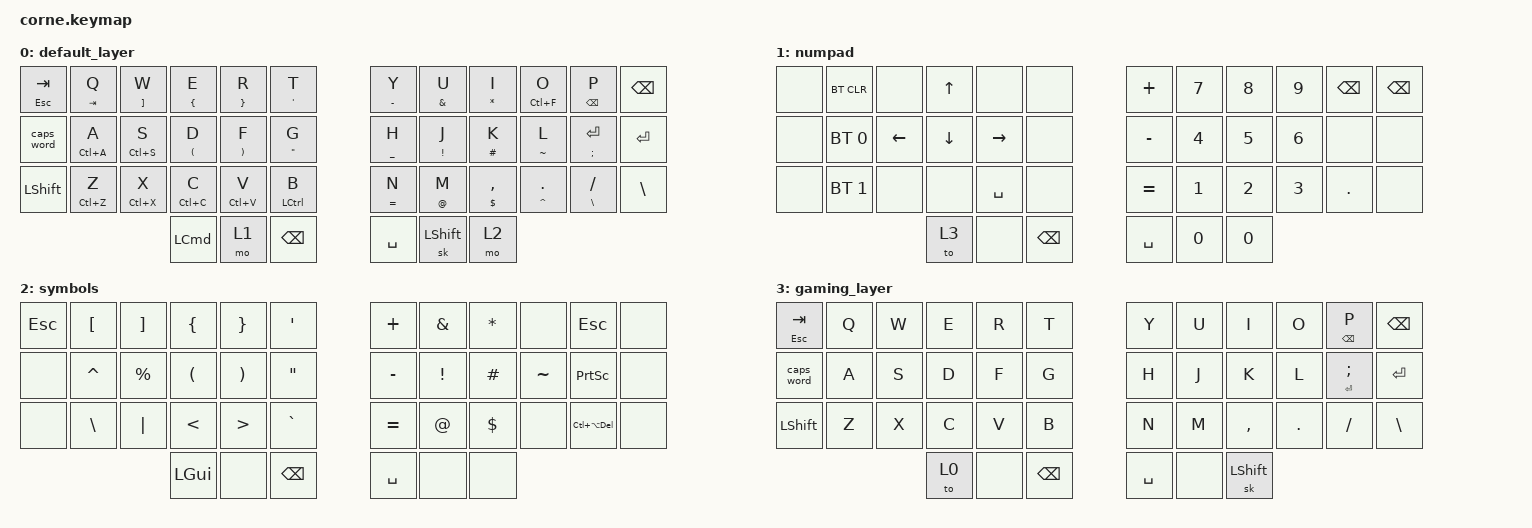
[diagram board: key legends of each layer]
/*
 * Copyright (c) 2020 The ZMK Contributors
 *
 * SPDX-License-Identifier: MIT
 */

#include <behaviors.dtsi>
#include <dt-bindings/zmk/keys.h>
#include <dt-bindings/zmk/bt.h>

nice_view_spi: &spi0 {
	compatible = "nordic,nrf-spim";
	sck-pin = <20>;
	mosi-pin = <17>;
	miso-pin = <25>;
	cs-gpios = <&pro_micro 0 GPIO_ACTIVE_HIGH>;
};

/ {
  chosen {
    zmk,matrix_transform = &default_transform;
    //zmk,matrix_transform = &five_column_transform;
  };
};

&sk {
        release-after-ms = <2000>;
        quick-release;
};

&caps_word {
        /delete-property/ ignore-modifiers;
        continue-list = <UNDERSCORE MINUS BACKSPACE>;
};

/ {
        behaviors {
            ht: hold_tap {
                compatible = "zmk,behavior-hold-tap";
                label = "HOLD_TAP";
                #binding-cells = <2>;
                flavor = "tap-preferred";
                tapping-term-ms = <200>;
                quick-tap-ms = <125>;
                global-quick-tap;
                bindings = <&kp>, <&kp>;
            };
        };

        keymap { 
                compatible = "zmk,keymap";

                default_layer { 
                        bindings = <
   &ht ESC TAB &ht TAB   Q &ht RBKT  W &ht LBRC  E &ht RBRC  R &ht SQT   T                &ht MINUS Y &ht AMPS U  &ht STAR I     &ht LC(F) O   &ht BSPC P    &kp BSPC
   &caps_word  &ht LC(A) A &ht LC(S) S &ht LPAR  D &ht RPAR  F &ht DQT   G                &ht UNDER H &ht EXCL J  &ht HASH K     &ht TILDE L   &ht SEMI RET  &kp RET
   &kp LSHIFT  &ht LC(Z) Z &ht LC(X) X &ht LC(C) C &ht LC(V) V &ht LCTRL B                &ht EQUAL N &ht AT   M  &ht DLLR COMMA &ht CARET DOT &ht BSLH FSLH &kp BSLH
        &kp LCMD &mo 1 &kp BSPC                                                                         &kp SPACE &sk LSHIFT &mo 2
                        >;
                };

                numpad {
                        bindings = <
   &none &bt BT_CLR   &none    &kp UP   &none     &none                         &kp PLUS  &kp N7 &kp N8 &kp N9 &kp BSPC &kp BSPC
   &none &bt BT_SEL 0 &kp LEFT &kp DOWN &kp RIGHT &none                         &kp MINUS &kp N4 &kp N5 &kp N6 &none    &none
   &none &bt BT_SEL 1 &none    &none    &kp SPACE &none                         &kp EQUAL &kp N1 &kp N2 &kp N3 &kp DOT  &none
        &to 3 &none &kp BSPC                                                           &kp SPACE &kp N0 &kp N0
                        >;
                };

                symbols {
                        bindings = <
   &kp ESC &kp LBKT  &kp RBKT  &kp LBRC &kp RBRC &kp SQT                   &kp PLUS  &kp AMPS &kp STAR &none     &kp ESC         &none
   &none   &kp CARET &kp PRCNT &kp LPAR &kp RPAR &kp DQT                   &kp MINUS &kp EXCL &kp HASH &kp TILDE &kp PSCRN       &none
   &none   &kp BSLH  &kp PIPE  &kp LT   &kp GT   &kp GRAVE                 &kp EQUAL &kp AT   &kp DLLR &none     &kp LC(LA(DEL)) &none
        &kp LGUI &none &kp BSPC                                                               &kp SPACE &none &none
                        >;
                };

                gaming_layer { 
                        bindings = <
   &ht ESC TAB &kp Q &kp W &kp E &kp R &kp T                &kp Y &kp U  &kp I     &kp O   &ht BSPC P   &kp BSPC
   &caps_word  &kp A &kp S &kp D &kp F &kp G                &kp H &kp J  &kp K     &kp L   &ht RET SEMI &kp RET
   &kp LSHIFT  &kp Z &kp X &kp C &kp V &kp B                &kp N &kp M  &kp COMMA &kp DOT &kp FSLH     &kp BSLH
        &to 0 &none &kp BSPC                                        &kp SPACE &none &sk LSHIFT
                        >;
                };
        };
};
